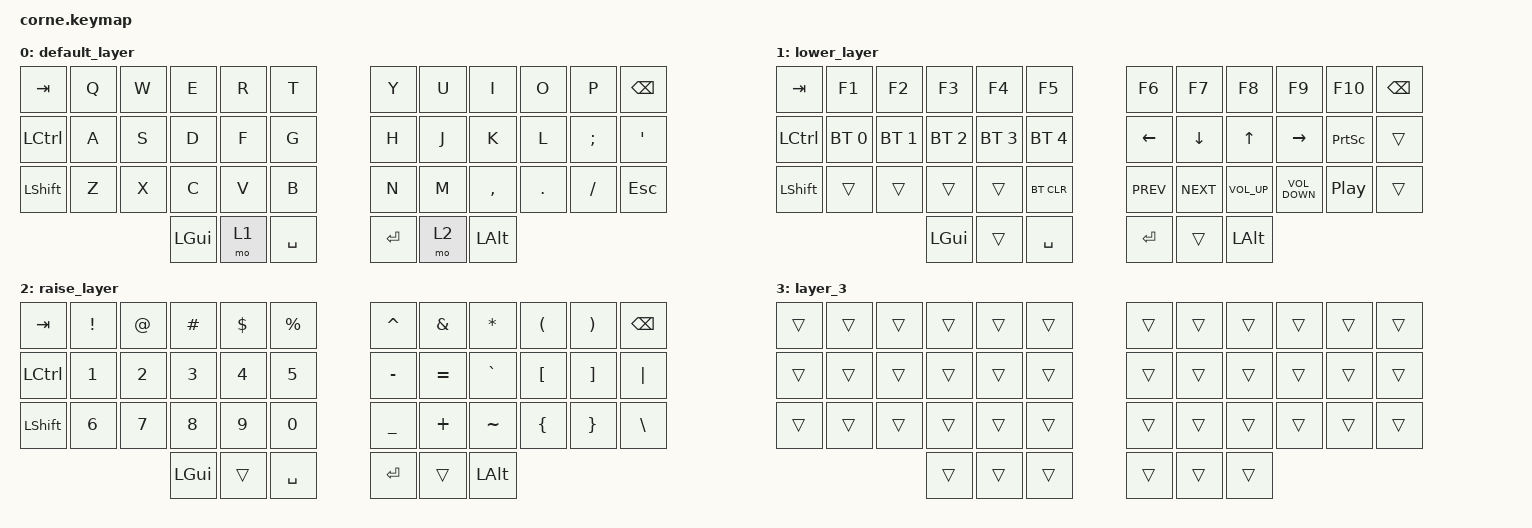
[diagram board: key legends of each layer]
/*
 * Copyright (c) 2020 The ZMK Contributors
 *
 * SPDX-License-Identifier: MIT
 */

#include <behaviors.dtsi>
#include <dt-bindings/zmk/bt.h>
#include <dt-bindings/zmk/keys.h>

/ {
    keymap {
        compatible = "zmk,keymap";

        default_layer {
            // -----------------------------------------------------------------------------------------
            // |  TAB |  Q  |  W  |  E  |  R  |  T  |   |  Y  |  U   |  I  |  O  |  P  | BSPC |
            // | CTRL |  A  |  S  |  D  |  F  |  G  |   |  H  |  J   |  K  |  L  |  ;  |  '   |
            // | SHFT |  Z  |  X  |  C  |  V  |  B  |   |  N  |  M   |  ,  |  .  |  /  | ESC  |
            //                    | GUI | LWR | SPC |   | ENT | RSE  | ALT |

            bindings = <
&kp TAB    &kp Q  &kp W  &kp E     &kp R  &kp T        &kp Y    &kp U  &kp I         &kp O    &kp P     &kp BSPC
&kp LCTRL  &kp A  &kp S  &kp D     &kp F  &kp G        &kp H    &kp J  &kp K         &kp L    &kp SEMI  &kp SQT
&kp LSHFT  &kp Z  &kp X  &kp C     &kp V  &kp B        &kp N    &kp M  &kp COMMA     &kp DOT  &kp FSLH  &kp ESC
                         &kp LGUI  &mo 1  &kp SPACE    &kp RET  &mo 2  &kp LEFT_ALT
            >;
        };

        lower_layer {
            // -----------------------------------------------------------------------------------------
            // |  TAB |  1  |  2  |  3  |  4  |  5  |   |  6  |  7  |  8  |  9  |  0  | BSPC |
            // | BTCLR| BT1 | BT2 | BT3 | BT4 | BT5 |   | LFT | DWN |  UP | RGT |     |      |
            // | SHFT |     |     |     |     |     |   |     |     |     |     |     |      |
            //                    | GUI |     | SPC |   | ENT |     | ALT |

            bindings = <
&kp TAB    &kp F1        &kp F2        &kp F3        &kp F4        &kp F5          &kp F6      &kp F7      &kp F8           &kp F9             &kp F10           &kp BSPC
&kp LCTRL  &bt BT_SEL 0  &bt BT_SEL 1  &bt BT_SEL 2  &bt BT_SEL 3  &bt BT_SEL 4    &kp LEFT    &kp DOWN    &kp UP           &kp RIGHT          &kp PRINTSCREEN   &trans
&kp LSHFT  &trans        &trans        &trans        &trans        &bt BT_CLR      &kp C_PREV  &kp C_NEXT  &kp C_VOLUME_UP  &kp C_VOLUME_DOWN  &kp C_PLAY_PAUSE  &trans
                                       &kp LGUI      &trans        &kp SPACE       &kp RET     &trans      &kp LEFT_ALT
            >;
        };

        raise_layer {
            // -----------------------------------------------------------------------------------------
            // |  TAB |  !  |  @  |  #  |  $  |  %  |   |  ^  |  &  |  *  |  (  |  )  | BSPC |
            // | CTRL |     |     |     |     |     |   |  -  |  =  |  [  |  ]  |  \  |  `   |
            // | SHFT |     |     |     |     |     |   |  _  |  +  |  {  |  }  | "|" |  ~   |
            //                    | GUI |     | SPC |   | ENT |     | ALT |

            bindings = <
&kp TAB    &kp EXCL      &kp AT        &kp HASH      &kp DLLR      &kp PRCNT       &kp CARET  &kp AMPS   &kp ASTRK     &kp LPAR          &kp RPAR           &kp BSPC
&kp LCTRL  &kp NUMBER_1  &kp NUMBER_2  &kp NUMBER_3  &kp NUMBER_4  &kp NUMBER_5    &kp MINUS  &kp EQUAL  &kp GRAVE     &kp LEFT_BRACKET  &kp RIGHT_BRACKET  &kp PIPE
&kp LSHFT  &kp NUMBER_6  &kp NUMBER_7  &kp NUMBER_8  &kp N9        &kp NUMBER_0    &kp UNDER  &kp PLUS   &kp TILDE     &kp LEFT_BRACE    &kp RIGHT_BRACE    &kp BACKSLASH
                                       &kp LGUI      &trans        &kp SPACE       &kp RET    &trans     &kp LEFT_ALT
            >;
        };

        layer_3 {
            bindings = <
&trans  &trans  &trans  &trans  &trans  &trans    &trans  &trans  &trans  &trans  &trans  &trans
&trans  &trans  &trans  &trans  &trans  &trans    &trans  &trans  &trans  &trans  &trans  &trans
&trans  &trans  &trans  &trans  &trans  &trans    &trans  &trans  &trans  &trans  &trans  &trans
                        &trans  &trans  &trans    &trans  &trans  &trans
            >;
        };
    };
};
